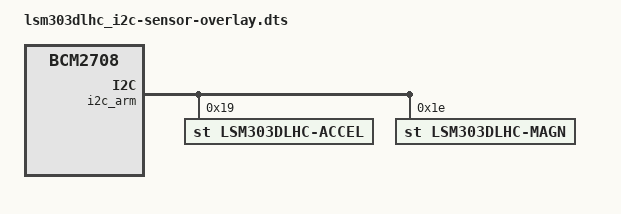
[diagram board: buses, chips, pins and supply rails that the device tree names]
// Definitions for LSM303DLHC accelerometer and magnetometer sensors
/dts-v1/;

/ {
	compatible = "brcm,bcm2708";

	fragment@0 {
		target = <&i2c_arm>;

		__overlay__ {
			#address-cells = <0x1>;
			#size-cells = <0x0>;
			status = "okay";

			lsm303dlhc-accel@19 {
				compatible = "st,lsm303dlhc-accel";
				reg = <0x19>;
				status = "okay";
			};
		};
	};

	fragment@1 {
		target = <&i2c_arm>;

		__overlay__ {
			#address-cells = <0x1>;
			#size-cells = <0x0>;
			status = "okay";

			lsm303dlhc-magn@1e {
				compatible = "st,lsm303dlhc-magn";
				reg = <0x1e>;
				status = "okay";
			};
		};
	};
};
